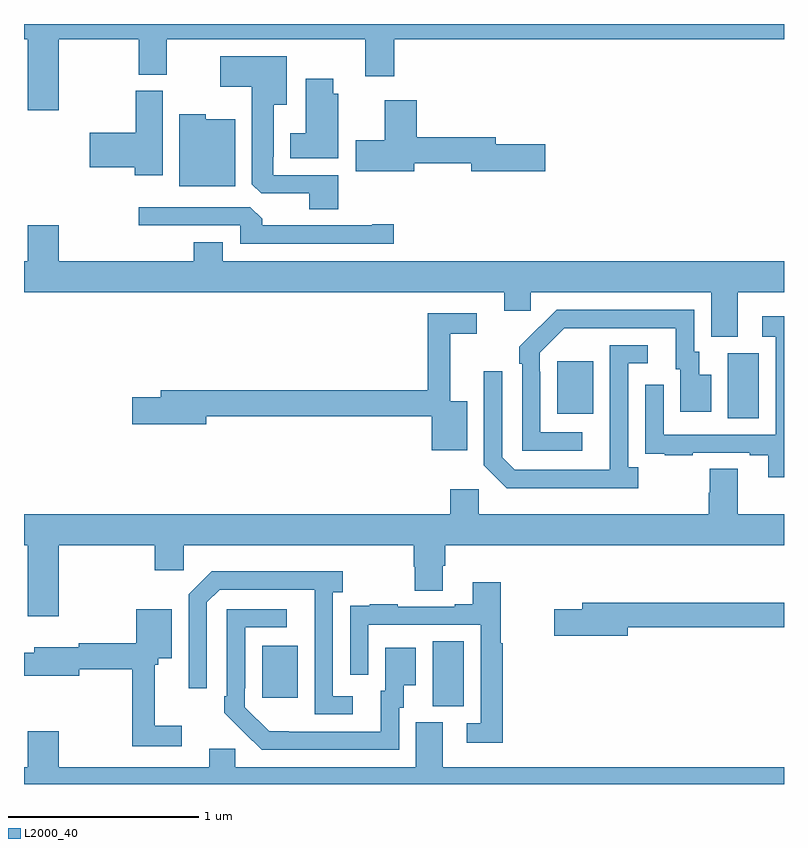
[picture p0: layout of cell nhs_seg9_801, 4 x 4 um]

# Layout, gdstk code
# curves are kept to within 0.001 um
import gdstk
lib = gdstk.Library(unit=1e-6, precision=1e-09)
def R(c, l, rs):  # rectangles x0, y0, x1, y1
    for r in rs: c.add(gdstk.rectangle(r[:2], r[2:], *l))
def P(c, l, *ps):  # polygons
    for p in ps: c.add(gdstk.Polygon(p, *l))
L2000_40 = (2000, 40)

nhs_seg9_801 = lib.new_cell('nhs_seg9_801')
R(nhs_seg9_801, L2000_40, [(155.15,1192.909,155.314,1193.252), (154.253,1192.953,154.441,1193.227), (156.704,1194.424,156.868,1194.768), (155.807,1194.449,155.995,1194.724)])
P(nhs_seg9_801, L2000_40, [(153,1196.42),(153.02,1196.42),(153.02,1196.046),(153.184,1196.046),(153.184,1196.42),(153.604,1196.42),(153.604,1196.233),(153.751,1196.233),(153.751,1196.42),(154.796,1196.42),(154.796,1196.226),(154.949,1196.226),(154.949,1196.42),(157,1196.42),(157,1196.5),(153,1196.5)],
  [(154.655,1195.704),(154.311,1195.704),(154.311,1195.801),(154.315,1195.801),(154.315,1196.075),(154.384,1196.075),(154.384,1196.329),(154.032,1196.329),(154.032,1196.171),(154.199,1196.171),(154.199,1195.657),(154.248,1195.608),(154.502,1195.608),(154.502,1195.525),(154.655,1195.525)],
  [(154.654,1196.133),(154.627,1196.133),(154.627,1196.212),(154.484,1196.212),(154.484,1195.924),(154.4,1195.924),(154.4,1195.793),(154.654,1195.793)],
  [(153.73,1196.148),(153.589,1196.148),(153.589,1195.928),(153.345,1195.928),(153.345,1195.745),(153.584,1195.745),(153.584,1195.704),(153.73,1195.704)],
  [(155.053,1195.768),(155.354,1195.768),(155.354,1195.726),(155.743,1195.726),(155.743,1195.868),(155.482,1195.868),(155.482,1195.904),(155.066,1195.904),(155.066,1196.098),(154.898,1196.098),(154.898,1195.887),(154.746,1195.887),(154.746,1195.724),(155.053,1195.724)],
  [(154.111,1195.999),(153.957,1195.999),(153.957,1196.026),(153.818,1196.026),(153.818,1195.646),(154.111,1195.646)],
  [(154.945,1195.445),(154.832,1195.445),(154.832,1195.44),(154.253,1195.44),(154.253,1195.474),(154.191,1195.536),(153.603,1195.536),(153.603,1195.44),(154.137,1195.44),(154.137,1195.344),(154.945,1195.344)],
  [(154.045,1195.351),(153.893,1195.351),(153.893,1195.252),(153.184,1195.252),(153.184,1195.441),(153.02,1195.441),(153.02,1195.252),(153,1195.252),(153,1195.088),(155.528,1195.088),(155.528,1194.99),(155.667,1194.99),(155.667,1195.088),(156.617,1195.088),(156.617,1194.853),(156.757,1194.853),(156.757,1195.088),(157,1195.088),(157,1195.252),(154.045,1195.252)],
  [(155.938,1194.351),(155.718,1194.351),(155.718,1194.671),(155.715,1194.671),(155.715,1194.771),(155.844,1194.9),(156.431,1194.9),(156.431,1194.684),(156.455,1194.684),(156.455,1194.459),(156.616,1194.459),(156.616,1194.655),(156.553,1194.655),(156.553,1194.774),(156.528,1194.774),(156.528,1194.996),(155.804,1194.996),(155.607,1194.801),(155.607,1194.713),(155.622,1194.713),(155.622,1194.255),(155.938,1194.255)],
  [(155.332,1194.514),(155.243,1194.514),(155.243,1194.87),(155.383,1194.87),(155.383,1194.978),(155.125,1194.978),(155.125,1194.572),(153.719,1194.572),(153.719,1194.536),(153.57,1194.536),(153.57,1194.394),(153.958,1194.394),(153.958,1194.436),(155.145,1194.436),(155.145,1194.257),(155.332,1194.257)],
  [(157,1194.961),(156.885,1194.961),(156.885,1194.855),(156.957,1194.855),(156.957,1194.339),(156.366,1194.339),(156.366,1194.601),(156.27,1194.601),(156.27,1194.346),(156.271,1194.346),(156.271,1194.237),(156.373,1194.237),(156.373,1194.231),(156.521,1194.231),(156.521,1194.243),(156.821,1194.243),(156.821,1194.231),(156.917,1194.231),(156.917,1194.114),(157,1194.114)],
  [(156.232,1194.166),(156.18,1194.166),(156.18,1194.714),(156.283,1194.714),(156.283,1194.81),(156.084,1194.81),(156.083,1194.153),(155.583,1194.153),(155.517,1194.219),(155.517,1194.673),(155.421,1194.673),(155.421,1194.177),(155.542,1194.056),(156.232,1194.056)],
  [(153.184,1193.756),(153.689,1193.756),(153.689,1193.625),(153.84,1193.625),(153.84,1193.756),(155.051,1193.756),(155.051,1193.643),(155.056,1193.643),(155.056,1193.518),(155.203,1193.518),(155.203,1193.65),(155.216,1193.65),(155.216,1193.756),(157,1193.756),(157,1193.92),(156.757,1193.92),(156.757,1194.158),(156.61,1194.158),(156.61,1194.033),(156.605,1194.033),(156.605,1193.92),(155.394,1193.92),(155.394,1194.052),(155.243,1194.052),(155.243,1193.92),(153,1193.92),(153,1193.756),(153.02,1193.756),(153.02,1193.382),(153.184,1193.382)],
  [(154.729,1192.962),(154.626,1192.962),(154.626,1193.51),(154.678,1193.51),(154.678,1193.62),(153.988,1193.62),(153.867,1193.499),(153.867,1193.004),(153.963,1193.004),(153.963,1193.457),(154.029,1193.523),(154.529,1193.523),(154.53,1192.866),(154.729,1192.866)],
  [(155.519,1193.24),(155.508,1193.24),(155.508,1193.563),(155.363,1193.563),(155.363,1193.446),(155.267,1193.446),(155.267,1193.433),(154.967,1193.433),(154.967,1193.446),(154.819,1193.446),(154.819,1193.439),(154.717,1193.439),(154.717,1193.33),(154.716,1193.33),(154.716,1193.076),(154.812,1193.076),(154.812,1193.337),(155.403,1193.337),(155.403,1192.821),(155.331,1192.821),(155.331,1192.716),(155.519,1192.716)],
  [(156.178,1193.326),(157,1193.326),(157,1193.455),(155.939,1193.455),(155.939,1193.421),(155.79,1193.421),(155.79,1193.279),(156.178,1193.279)],
  [(154.974,1192.902),(154.999,1192.902),(154.999,1193.021),(155.062,1193.021),(155.062,1193.218),(154.901,1193.218),(154.901,1192.992),(154.877,1192.992),(154.877,1192.776),(154.29,1192.777),(154.161,1192.905),(154.161,1193.005),(154.164,1193.005),(154.164,1193.325),(154.384,1193.325),(154.384,1193.421),(154.068,1193.421),(154.068,1192.963),(154.053,1192.963),(154.053,1192.875),(154.25,1192.68),(154.974,1192.68)],
  [(153.829,1192.807),(153.689,1192.807),(153.689,1193.127),(153.706,1193.127),(153.706,1193.162),(153.778,1193.162),(153.778,1193.419),(153.59,1193.419),(153.59,1193.24),(153.288,1193.24),(153.288,1193.221),(153.053,1193.221),(153.053,1193.191),(153,1193.191),(153,1193.069),(153.292,1193.069),(153.292,1193.104),(153.571,1193.104),(153.571,1192.698),(153.829,1192.698)],
  [(157,1192.588),(155.203,1192.588),(155.203,1192.824),(155.063,1192.824),(155.063,1192.588),(154.113,1192.588),(154.113,1192.686),(153.974,1192.686),(153.974,1192.588),(153.184,1192.588),(153.184,1192.777),(153.02,1192.777),(153.02,1192.588),(153,1192.588),(153,1192.5),(157,1192.5)])

lib.write_gds('nhs_seg9_801.gds')
